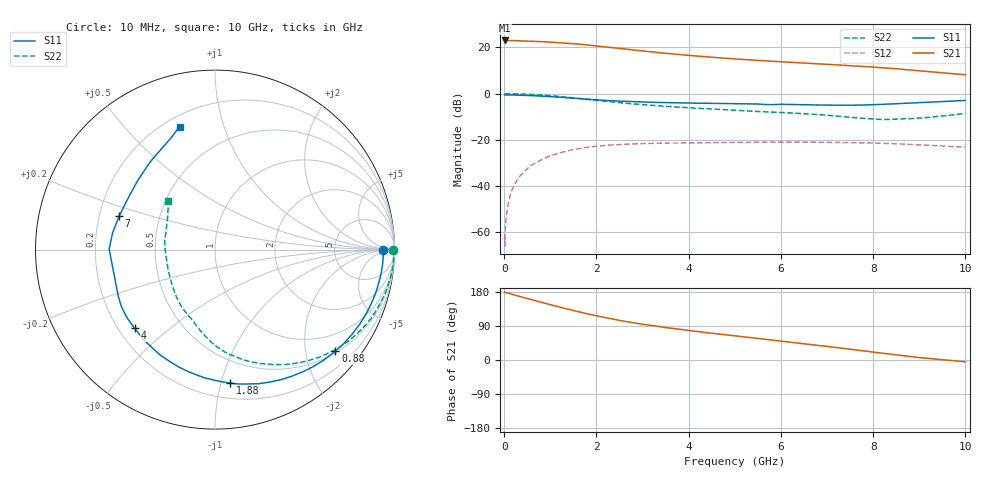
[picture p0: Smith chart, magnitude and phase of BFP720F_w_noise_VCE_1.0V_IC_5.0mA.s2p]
! Infineon Technologies  Discrete & RF Semiconductors
! BFP720F
! VCE =  1.0 V,  IC =  5.0 mA
! Common Emitter S-Parameters:  Jan 2016
# GHz  S  MA  R  50
!  f  S11  S21  S12  S22
! GHz  MAG  ANG  MAG  ANG  MAG  ANG  MAG  ANG
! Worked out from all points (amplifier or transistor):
!   233 points, 10 MHz to 10 GHz, reference 50 ohm
!   highest |S21| = 23.0 dB at 10 MHz (marker M1)
!   |S21| within 3 dB of that: start of sweep to 2.29 GHz
!   unconditionally stable (mu >= 1): 8.205 GHz to end of sweep
!   at 200 MHz: K = 0.03, MSG = 31.7 dB, |S12| = -40.4 dB
!   at 1.74 GHz: K = 0.21, MSG = 22.3 dB, |S12| = -23.4 dB
!   at 10 GHz: K = 1.23, MAG = 12.8 dB, |S12| = -23.1 dB
!   lowest NFmin = 0.41 dB at 450 MHz
!   S11 on the Smith chart (normalised r, x): 10 MHz: 30, -2; 880 MHz: 0.54, -2.64; 1.88 GHz: 0.32, -1.07; 4 GHz: 0.27, -0.38; 7 GHz: 0.28, +0.16; 10 GHz: 0.26, +0.72
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0.01  0.9363 -0.2  14.19 179.7  0.0008 -30.5  0.9898 0.0
0.015  0.9384 -0.5  14.08 178.8  0.0005 38.8  0.9946 -0.7
0.02  0.9405 -0.8  13.98 177.9  0.001 87.3  0.9995 -1.3
0.05  0.9377 -2.3  14.17 177.9  0.0024 89.4  0.9964 -1.7
0.08  0.9377 -3.6  14.17 176.8  0.0038 88.0  0.9967 -2.7
0.22  0.9327 -10.0  14.03 171.7  0.0105 83.8  0.9922 -7.4
0.58  0.9084 -26.4  13.63 159.7  0.0274 73.3  0.9629 -19.7
0.88  0.877 -40.1  13.28 149.9  0.0403 64.6  0.9247 -29.5
1.28  0.8273 -57.9  12.5 137.2  0.055 53.4  0.8553 -42.5
1.68  0.7737 -75.4  11.66 125.3  0.0663 43.3  0.7768 -54.6
1.88  0.7489 -83.4  11.13 119.7  0.0706 38.7  0.7393 -60.1
2.2  0.7164 -94.9  10.29 111.5  0.076 32.0  0.6837 -68.2
2.6  0.6844 -107.3  9.278 102.3  0.0803 24.7  0.6251 -76.8
3  0.662 -117.6  8.409 94.4  0.0831 19.1  0.5789 -83.8
3.4  0.6441 -125.6  7.655 87.5  0.0847 14.2  0.5416 -88.8
4  0.6267 -135.6  6.741 77.8  0.0865 7.9  0.4949 -95.1
5.1  0.6082 -149.5  5.572 62.4  0.0885 -1.4  0.4315 -104.5
6.8  0.5687 164.8  4.428 38.7  0.0888 -14.6  0.3514 -125.4
7  0.5657 160.8  4.319 35.7  0.0886 -16.2  0.3409 -129.0
8.4  0.5998 128.8  3.517 14.9  0.083 -27.3  0.2782 179.4
9  0.6396 117.0  3.125 6.4  0.0778 -31.1  0.2956 156.4
10  0.713 106.1  2.567 -4.8  0.0697 -34.3  0.3737 133.9
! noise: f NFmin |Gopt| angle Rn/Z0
0.45  0.41  0.49  4  0.15
0.9  0.44  0.48  9  0.17
1.8  0.5  0.44  20  0.17
2.4  0.54  0.41  29  0.14
5.5  0.72  0.37  68  0.1
10  1  0.25  -109  0.15
